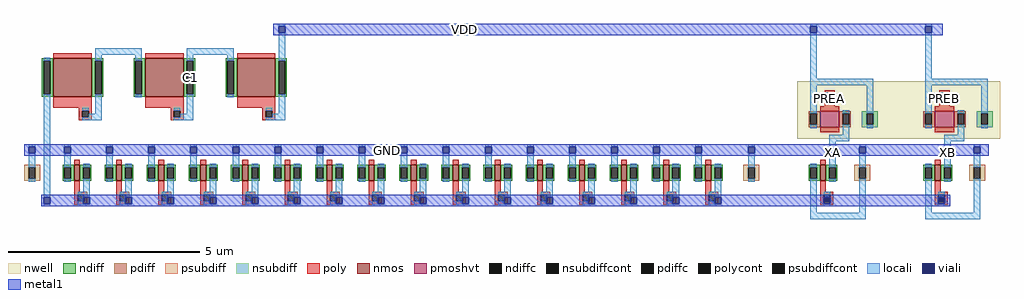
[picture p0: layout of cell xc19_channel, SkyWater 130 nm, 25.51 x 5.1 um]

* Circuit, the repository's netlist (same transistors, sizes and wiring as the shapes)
* NGSPICE file created from xc19_channel.ext - technology: sky130A

.subckt xc19_channel VDD GND C1 PREA XA PREB XB
X0 XB PREB VDD VDD sky130_fd_pr__pfet_01v8_hvt ad=0.126 pd=1.44 as=0.126 ps=1.44 w=0.42 l=0.5
X1 a_n108_440# a_n108_440# GND GND sky130_fd_pr__nfet_01v8 ad=0.126 pd=1.44 as=0.126 ps=1.44 w=0.42 l=0.15
X2 XA PREA VDD VDD sky130_fd_pr__pfet_01v8_hvt ad=0.126 pd=1.44 as=0.126 ps=1.44 w=0.42 l=0.5
X3 a_n108_440# a_n108_440# GND GND sky130_fd_pr__nfet_01v8 ad=0.126 pd=1.44 as=0.126 ps=1.44 w=0.42 l=0.15
X4 a_n108_440# a_n108_440# GND GND sky130_fd_pr__nfet_01v8 ad=0.126 pd=1.44 as=0.126 ps=1.44 w=0.42 l=0.15
X5 a_n108_440# a_n108_440# GND GND sky130_fd_pr__nfet_01v8 ad=0.126 pd=1.44 as=0.126 ps=1.44 w=0.42 l=0.15
X6 a_n108_440# a_n108_440# GND GND sky130_fd_pr__nfet_01v8 ad=0.126 pd=1.44 as=0.126 ps=1.44 w=0.42 l=0.15
X7 a_n108_440# a_n108_440# GND GND sky130_fd_pr__nfet_01v8 ad=0.126 pd=1.44 as=0.126 ps=1.44 w=0.42 l=0.15
X8 a_n108_440# a_n108_440# GND GND sky130_fd_pr__nfet_01v8 ad=0.126 pd=1.44 as=0.126 ps=1.44 w=0.42 l=0.15
X9 XA a_n108_440# GND GND sky130_fd_pr__nfet_01v8 ad=0.126 pd=1.44 as=0.126 ps=1.44 w=0.42 l=0.15
X10 XB a_n108_440# GND GND sky130_fd_pr__nfet_01v8 ad=0.126 pd=1.44 as=0.126 ps=1.44 w=0.42 l=0.15
X11 a_n108_440# a_n108_440# GND GND sky130_fd_pr__nfet_01v8 ad=0.126 pd=1.44 as=0.126 ps=1.44 w=0.42 l=0.15
X12 a_n108_440# a_n108_440# GND GND sky130_fd_pr__nfet_01v8 ad=0.126 pd=1.44 as=0.126 ps=1.44 w=0.42 l=0.15
X13 a_n108_440# a_n108_440# GND GND sky130_fd_pr__nfet_01v8 ad=0.126 pd=1.44 as=0.126 ps=1.44 w=0.42 l=0.15
X14 a_n108_440# a_n108_440# GND GND sky130_fd_pr__nfet_01v8 ad=0.126 pd=1.44 as=0.126 ps=1.44 w=0.42 l=0.15
X15 a_n48_382# a_n48_382# a_n108_440# GND sky130_fd_pr__nfet_01v8 ad=0.3 pd=2.6 as=0.3 ps=2.6 w=1 l=1
X16 a_n108_440# a_n108_440# GND GND sky130_fd_pr__nfet_01v8 ad=0.126 pd=1.44 as=0.126 ps=1.44 w=0.42 l=0.15
X17 a_n108_440# a_n108_440# GND GND sky130_fd_pr__nfet_01v8 ad=0.126 pd=1.44 as=0.126 ps=1.44 w=0.42 l=0.15
X18 a_n108_440# a_n108_440# GND GND sky130_fd_pr__nfet_01v8 ad=0.126 pd=1.44 as=0.126 ps=1.44 w=0.42 l=0.15
X19 C1 C1 a_n48_382# GND sky130_fd_pr__nfet_01v8 ad=0.3 pd=2.6 as=0.3 ps=2.6 w=1 l=1
X20 a_n108_440# a_n108_440# GND GND sky130_fd_pr__nfet_01v8 ad=0.126 pd=1.44 as=0.126 ps=1.44 w=0.42 l=0.15
X21 VDD VDD C1 GND sky130_fd_pr__nfet_01v8 ad=0.3 pd=2.6 as=0.3 ps=2.6 w=1 l=1
X22 a_n108_440# a_n108_440# GND GND sky130_fd_pr__nfet_01v8 ad=0.126 pd=1.44 as=0.126 ps=1.44 w=0.42 l=0.15
.ends

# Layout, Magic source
magic
tech sky130A
magscale 1 2
<< nwell >>
rect 3840 220 4900 520
<< nmos >>
rect -48 440 152 640
rect 432 440 632 640
rect 912 440 1112 640
rect 60 0 90 84
rect 280 0 310 84
rect 500 0 530 84
rect 720 0 750 84
rect 940 0 970 84
rect 1160 0 1190 84
rect 1380 0 1410 84
rect 1600 0 1630 84
rect 1820 0 1850 84
rect 2040 0 2070 84
rect 2260 0 2290 84
rect 2480 0 2510 84
rect 2700 0 2730 84
rect 2920 0 2950 84
rect 3140 0 3170 84
rect 3360 0 3390 84
rect 3960 0 3990 84
rect 4560 0 4590 84
<< pmoshvt >>
rect 3960 280 4060 364
rect 4560 280 4660 364
<< ndiff >>
rect -108 628 -48 640
rect -108 452 -100 628
rect -66 452 -48 628
rect -108 440 -48 452
rect 152 628 212 640
rect 152 452 170 628
rect 204 452 212 628
rect 152 440 212 452
rect 372 628 432 640
rect 372 452 380 628
rect 414 452 432 628
rect 372 440 432 452
rect 632 628 692 640
rect 632 452 650 628
rect 684 452 692 628
rect 632 440 692 452
rect 852 628 912 640
rect 852 452 860 628
rect 894 452 912 628
rect 852 440 912 452
rect 1112 628 1172 640
rect 1112 452 1130 628
rect 1164 452 1172 628
rect 1112 440 1172 452
rect 0 72 60 84
rect 0 12 8 72
rect 42 12 60 72
rect 0 0 60 12
rect 90 72 150 84
rect 90 12 108 72
rect 142 12 150 72
rect 90 0 150 12
rect 220 72 280 84
rect 220 12 228 72
rect 262 12 280 72
rect 220 0 280 12
rect 310 72 370 84
rect 310 12 328 72
rect 362 12 370 72
rect 310 0 370 12
rect 440 72 500 84
rect 440 12 448 72
rect 482 12 500 72
rect 440 0 500 12
rect 530 72 590 84
rect 530 12 548 72
rect 582 12 590 72
rect 530 0 590 12
rect 660 72 720 84
rect 660 12 668 72
rect 702 12 720 72
rect 660 0 720 12
rect 750 72 810 84
rect 750 12 768 72
rect 802 12 810 72
rect 750 0 810 12
rect 880 72 940 84
rect 880 12 888 72
rect 922 12 940 72
rect 880 0 940 12
rect 970 72 1030 84
rect 970 12 988 72
rect 1022 12 1030 72
rect 970 0 1030 12
rect 1100 72 1160 84
rect 1100 12 1108 72
rect 1142 12 1160 72
rect 1100 0 1160 12
rect 1190 72 1250 84
rect 1190 12 1208 72
rect 1242 12 1250 72
rect 1190 0 1250 12
rect 1320 72 1380 84
rect 1320 12 1328 72
rect 1362 12 1380 72
rect 1320 0 1380 12
rect 1410 72 1470 84
rect 1410 12 1428 72
rect 1462 12 1470 72
rect 1410 0 1470 12
rect 1540 72 1600 84
rect 1540 12 1548 72
rect 1582 12 1600 72
rect 1540 0 1600 12
rect 1630 72 1690 84
rect 1630 12 1648 72
rect 1682 12 1690 72
rect 1630 0 1690 12
rect 1760 72 1820 84
rect 1760 12 1768 72
rect 1802 12 1820 72
rect 1760 0 1820 12
rect 1850 72 1910 84
rect 1850 12 1868 72
rect 1902 12 1910 72
rect 1850 0 1910 12
rect 1980 72 2040 84
rect 1980 12 1988 72
rect 2022 12 2040 72
rect 1980 0 2040 12
rect 2070 72 2130 84
rect 2070 12 2088 72
rect 2122 12 2130 72
rect 2070 0 2130 12
rect 2200 72 2260 84
rect 2200 12 2208 72
rect 2242 12 2260 72
rect 2200 0 2260 12
rect 2290 72 2350 84
rect 2290 12 2308 72
rect 2342 12 2350 72
rect 2290 0 2350 12
rect 2420 72 2480 84
rect 2420 12 2428 72
rect 2462 12 2480 72
rect 2420 0 2480 12
rect 2510 72 2570 84
rect 2510 12 2528 72
rect 2562 12 2570 72
rect 2510 0 2570 12
rect 2640 72 2700 84
rect 2640 12 2648 72
rect 2682 12 2700 72
rect 2640 0 2700 12
rect 2730 72 2790 84
rect 2730 12 2748 72
rect 2782 12 2790 72
rect 2730 0 2790 12
rect 2860 72 2920 84
rect 2860 12 2868 72
rect 2902 12 2920 72
rect 2860 0 2920 12
rect 2950 72 3010 84
rect 2950 12 2968 72
rect 3002 12 3010 72
rect 2950 0 3010 12
rect 3080 72 3140 84
rect 3080 12 3088 72
rect 3122 12 3140 72
rect 3080 0 3140 12
rect 3170 72 3230 84
rect 3170 12 3188 72
rect 3222 12 3230 72
rect 3170 0 3230 12
rect 3300 72 3360 84
rect 3300 12 3308 72
rect 3342 12 3360 72
rect 3300 0 3360 12
rect 3390 72 3450 84
rect 3390 12 3408 72
rect 3442 12 3450 72
rect 3390 0 3450 12
rect 3900 72 3960 84
rect 3900 12 3908 72
rect 3942 12 3960 72
rect 3900 0 3960 12
rect 3990 72 4050 84
rect 3990 12 4008 72
rect 4042 12 4050 72
rect 3990 0 4050 12
rect 4500 72 4560 84
rect 4500 12 4508 72
rect 4542 12 4560 72
rect 4500 0 4560 12
rect 4590 72 4650 84
rect 4590 12 4608 72
rect 4642 12 4650 72
rect 4590 0 4650 12
<< pdiff >>
rect 3900 352 3960 364
rect 3900 292 3908 352
rect 3942 292 3960 352
rect 3900 280 3960 292
rect 4060 352 4120 364
rect 4060 292 4078 352
rect 4112 292 4120 352
rect 4060 280 4120 292
rect 4500 352 4560 364
rect 4500 292 4508 352
rect 4542 292 4560 352
rect 4500 280 4560 292
rect 4660 352 4720 364
rect 4660 292 4678 352
rect 4712 292 4720 352
rect 4660 280 4720 292
<< ndiffc >>
rect -100 452 -66 628
rect 170 452 204 628
rect 380 452 414 628
rect 650 452 684 628
rect 860 452 894 628
rect 1130 452 1164 628
rect 8 12 42 72
rect 108 12 142 72
rect 228 12 262 72
rect 328 12 362 72
rect 448 12 482 72
rect 548 12 582 72
rect 668 12 702 72
rect 768 12 802 72
rect 888 12 922 72
rect 988 12 1022 72
rect 1108 12 1142 72
rect 1208 12 1242 72
rect 1328 12 1362 72
rect 1428 12 1462 72
rect 1548 12 1582 72
rect 1648 12 1682 72
rect 1768 12 1802 72
rect 1868 12 1902 72
rect 1988 12 2022 72
rect 2088 12 2122 72
rect 2208 12 2242 72
rect 2308 12 2342 72
rect 2428 12 2462 72
rect 2528 12 2562 72
rect 2648 12 2682 72
rect 2748 12 2782 72
rect 2868 12 2902 72
rect 2968 12 3002 72
rect 3088 12 3122 72
rect 3188 12 3222 72
rect 3308 12 3342 72
rect 3408 12 3442 72
rect 3908 12 3942 72
rect 4008 12 4042 72
rect 4508 12 4542 72
rect 4608 12 4642 72
<< pdiffc >>
rect 3908 292 3942 352
rect 4078 292 4112 352
rect 4508 292 4542 352
rect 4678 292 4712 352
<< psubdiff >>
rect -202 72 -118 84
rect -202 12 -177 72
rect -143 12 -118 72
rect -202 0 -118 12
rect 3558 72 3642 84
rect 3558 12 3583 72
rect 3617 12 3642 72
rect 3558 0 3642 12
rect 4138 72 4222 84
rect 4138 12 4163 72
rect 4197 12 4222 72
rect 4138 0 4222 12
rect 4738 72 4822 84
rect 4738 12 4763 72
rect 4797 12 4822 72
rect 4738 0 4822 12
<< nsubdiff >>
rect 4178 352 4262 364
rect 4178 292 4203 352
rect 4237 292 4262 352
rect 4178 280 4262 292
rect 4778 352 4862 364
rect 4778 292 4803 352
rect 4837 292 4862 352
rect 4778 280 4862 292
<< psubdiffcont >>
rect -177 12 -143 72
rect 3583 12 3617 72
rect 4163 12 4197 72
rect 4763 12 4797 72
<< nsubdiffcont >>
rect 4203 292 4237 352
rect 4803 292 4837 352
<< poly >>
rect -48 640 152 666
rect 432 640 632 666
rect 912 640 1112 666
rect 3983 448 4037 474
rect -48 382 152 440
rect 432 382 632 440
rect 912 382 1112 440
rect 3983 414 3993 448
rect 4027 414 4037 448
rect 3983 390 4037 414
rect 4583 448 4637 474
rect 4583 414 4593 448
rect 4627 414 4637 448
rect 4583 390 4637 414
rect 84 366 152 382
rect 84 332 102 366
rect 136 332 152 366
rect 84 316 152 332
rect 564 366 632 382
rect 564 332 582 366
rect 616 332 632 366
rect 564 316 632 332
rect 1044 366 1112 382
rect 1044 332 1062 366
rect 1096 332 1112 366
rect 3960 364 4060 390
rect 4560 364 4660 390
rect 1044 316 1112 332
rect 3960 254 4060 280
rect 4560 254 4660 280
rect 60 84 90 110
rect 280 84 310 110
rect 500 84 530 110
rect 720 84 750 110
rect 940 84 970 110
rect 1160 84 1190 110
rect 1380 84 1410 110
rect 1600 84 1630 110
rect 1820 84 1850 110
rect 2040 84 2070 110
rect 2260 84 2290 110
rect 2480 84 2510 110
rect 2700 84 2730 110
rect 2920 84 2950 110
rect 3140 84 3170 110
rect 3360 84 3390 110
rect 3960 84 3990 110
rect 4560 84 4590 110
rect 60 -58 90 0
rect 280 -58 310 0
rect 500 -58 530 0
rect 720 -58 750 0
rect 940 -58 970 0
rect 1160 -58 1190 0
rect 1380 -58 1410 0
rect 1600 -58 1630 0
rect 1820 -58 1850 0
rect 2040 -58 2070 0
rect 2260 -58 2290 0
rect 2480 -58 2510 0
rect 2700 -58 2730 0
rect 2920 -58 2950 0
rect 3140 -58 3170 0
rect 3360 -58 3390 0
rect 3960 -58 3990 0
rect 4560 -58 4590 0
rect 60 -74 128 -58
rect 60 -108 78 -74
rect 112 -108 128 -74
rect 60 -124 128 -108
rect 280 -74 348 -58
rect 280 -108 298 -74
rect 332 -108 348 -74
rect 280 -124 348 -108
rect 500 -74 568 -58
rect 500 -108 518 -74
rect 552 -108 568 -74
rect 500 -124 568 -108
rect 720 -74 788 -58
rect 720 -108 738 -74
rect 772 -108 788 -74
rect 720 -124 788 -108
rect 940 -74 1008 -58
rect 940 -108 958 -74
rect 992 -108 1008 -74
rect 940 -124 1008 -108
rect 1160 -74 1228 -58
rect 1160 -108 1178 -74
rect 1212 -108 1228 -74
rect 1160 -124 1228 -108
rect 1380 -74 1448 -58
rect 1380 -108 1398 -74
rect 1432 -108 1448 -74
rect 1380 -124 1448 -108
rect 1600 -74 1668 -58
rect 1600 -108 1618 -74
rect 1652 -108 1668 -74
rect 1600 -124 1668 -108
rect 1820 -74 1888 -58
rect 1820 -108 1838 -74
rect 1872 -108 1888 -74
rect 1820 -124 1888 -108
rect 2040 -74 2108 -58
rect 2040 -108 2058 -74
rect 2092 -108 2108 -74
rect 2040 -124 2108 -108
rect 2260 -74 2328 -58
rect 2260 -108 2278 -74
rect 2312 -108 2328 -74
rect 2260 -124 2328 -108
rect 2480 -74 2548 -58
rect 2480 -108 2498 -74
rect 2532 -108 2548 -74
rect 2480 -124 2548 -108
rect 2700 -74 2768 -58
rect 2700 -108 2718 -74
rect 2752 -108 2768 -74
rect 2700 -124 2768 -108
rect 2920 -74 2988 -58
rect 2920 -108 2938 -74
rect 2972 -108 2988 -74
rect 2920 -124 2988 -108
rect 3140 -74 3208 -58
rect 3140 -108 3158 -74
rect 3192 -108 3208 -74
rect 3140 -124 3208 -108
rect 3360 -74 3428 -58
rect 3360 -108 3378 -74
rect 3412 -108 3428 -74
rect 3360 -124 3428 -108
rect 3960 -74 4028 -58
rect 3960 -108 3978 -74
rect 4012 -108 4028 -74
rect 3960 -124 4028 -108
rect 4560 -74 4628 -58
rect 4560 -108 4578 -74
rect 4612 -108 4628 -74
rect 4560 -124 4628 -108
<< polycont >>
rect 3993 414 4027 448
rect 4593 414 4627 448
rect 102 332 136 366
rect 582 332 616 366
rect 1062 332 1096 366
rect 78 -108 112 -74
rect 298 -108 332 -74
rect 518 -108 552 -74
rect 738 -108 772 -74
rect 958 -108 992 -74
rect 1178 -108 1212 -74
rect 1398 -108 1432 -74
rect 1618 -108 1652 -74
rect 1838 -108 1872 -74
rect 2058 -108 2092 -74
rect 2278 -108 2312 -74
rect 2498 -108 2532 -74
rect 2718 -108 2752 -74
rect 2938 -108 2972 -74
rect 3158 -108 3192 -74
rect 3378 -108 3412 -74
rect 3978 -108 4012 -74
rect 4578 -108 4612 -74
<< locali >>
rect 1130 808 1164 820
rect 170 660 414 694
rect -100 628 -66 644
rect -177 178 -143 190
rect -177 72 -143 144
rect -177 -4 -143 12
rect -100 -86 -66 452
rect 170 628 204 660
rect 102 366 136 382
rect 170 350 204 452
rect 380 628 414 660
rect 380 436 414 452
rect 650 660 894 694
rect 650 628 684 660
rect 136 332 204 350
rect 102 316 204 332
rect 582 366 616 382
rect 650 350 684 452
rect 860 628 894 660
rect 860 436 894 452
rect 1130 628 1164 774
rect 616 332 684 350
rect 582 316 684 332
rect 1062 366 1096 382
rect 1130 350 1164 452
rect 1096 332 1164 350
rect 1062 316 1164 332
rect 3908 808 3942 820
rect 3908 534 3942 774
rect 4508 808 4542 820
rect 4508 534 4542 774
rect 3908 500 4237 534
rect 3908 352 3942 500
rect 3993 448 4027 464
rect 3993 398 4027 414
rect 3908 276 3942 292
rect 4078 352 4112 368
rect 4078 240 4112 292
rect 4203 352 4237 500
rect 4203 276 4237 292
rect 4508 500 4837 534
rect 4508 352 4542 500
rect 4593 448 4627 464
rect 4593 398 4627 414
rect 4508 276 4542 292
rect 4678 352 4712 368
rect 4678 240 4712 292
rect 4803 352 4837 500
rect 4803 276 4837 292
rect 4008 206 4112 240
rect 4608 206 4712 240
rect 8 178 42 190
rect 8 72 42 144
rect 228 178 262 190
rect 8 -4 42 12
rect 108 72 142 88
rect 108 -58 142 12
rect 228 72 262 144
rect 448 178 482 190
rect 228 -4 262 12
rect 328 72 362 88
rect 328 -58 362 12
rect 448 72 482 144
rect 668 178 702 190
rect 448 -4 482 12
rect 548 72 582 88
rect 548 -58 582 12
rect 668 72 702 144
rect 888 178 922 190
rect 668 -4 702 12
rect 768 72 802 88
rect 768 -58 802 12
rect 888 72 922 144
rect 1108 178 1142 190
rect 888 -4 922 12
rect 988 72 1022 88
rect 988 -58 1022 12
rect 1108 72 1142 144
rect 1328 178 1362 190
rect 1108 -4 1142 12
rect 1208 72 1242 88
rect 1208 -58 1242 12
rect 1328 72 1362 144
rect 1548 178 1582 190
rect 1328 -4 1362 12
rect 1428 72 1462 88
rect 1428 -58 1462 12
rect 1548 72 1582 144
rect 1768 178 1802 190
rect 1548 -4 1582 12
rect 1648 72 1682 88
rect 1648 -58 1682 12
rect 1768 72 1802 144
rect 1988 178 2022 190
rect 1768 -4 1802 12
rect 1868 72 1902 88
rect 1868 -58 1902 12
rect 1988 72 2022 144
rect 2208 178 2242 190
rect 1988 -4 2022 12
rect 2088 72 2122 88
rect 2088 -58 2122 12
rect 2208 72 2242 144
rect 2428 178 2462 190
rect 2208 -4 2242 12
rect 2308 72 2342 88
rect 2308 -58 2342 12
rect 2428 72 2462 144
rect 2648 178 2682 190
rect 2428 -4 2462 12
rect 2528 72 2562 88
rect 2528 -58 2562 12
rect 2648 72 2682 144
rect 2868 178 2902 190
rect 2648 -4 2682 12
rect 2748 72 2782 88
rect 2748 -58 2782 12
rect 2868 72 2902 144
rect 3088 178 3122 190
rect 2868 -4 2902 12
rect 2968 72 3002 88
rect 2968 -58 3002 12
rect 3088 72 3122 144
rect 3308 178 3342 190
rect 3088 -4 3122 12
rect 3188 72 3222 88
rect 3188 -58 3222 12
rect 3308 72 3342 144
rect 3583 178 3617 190
rect 3308 -4 3342 12
rect 3408 72 3442 88
rect 3408 -58 3442 12
rect 3583 72 3617 144
rect 3583 -4 3617 12
rect 3908 72 3942 88
rect -100 -124 -66 -120
rect 78 -74 142 -58
rect 112 -86 142 -74
rect 78 -120 108 -108
rect 78 -124 142 -120
rect 298 -74 362 -58
rect 332 -86 362 -74
rect 298 -120 328 -108
rect 298 -124 362 -120
rect 518 -74 582 -58
rect 552 -86 582 -74
rect 518 -120 548 -108
rect 518 -124 582 -120
rect 738 -74 802 -58
rect 772 -86 802 -74
rect 738 -120 768 -108
rect 738 -124 802 -120
rect 958 -74 1022 -58
rect 992 -86 1022 -74
rect 958 -120 988 -108
rect 958 -124 1022 -120
rect 1178 -74 1242 -58
rect 1212 -86 1242 -74
rect 1178 -120 1208 -108
rect 1178 -124 1242 -120
rect 1398 -74 1462 -58
rect 1432 -86 1462 -74
rect 1398 -120 1428 -108
rect 1398 -124 1462 -120
rect 1618 -74 1682 -58
rect 1652 -86 1682 -74
rect 1618 -120 1648 -108
rect 1618 -124 1682 -120
rect 1838 -74 1902 -58
rect 1872 -86 1902 -74
rect 1838 -120 1868 -108
rect 1838 -124 1902 -120
rect 2058 -74 2122 -58
rect 2092 -86 2122 -74
rect 2058 -120 2088 -108
rect 2058 -124 2122 -120
rect 2278 -74 2342 -58
rect 2312 -86 2342 -74
rect 2278 -120 2308 -108
rect 2278 -124 2342 -120
rect 2498 -74 2562 -58
rect 2532 -86 2562 -74
rect 2498 -120 2528 -108
rect 2498 -124 2562 -120
rect 2718 -74 2782 -58
rect 2752 -86 2782 -74
rect 2718 -120 2748 -108
rect 2718 -124 2782 -120
rect 2938 -74 3002 -58
rect 2972 -86 3002 -74
rect 2938 -120 2968 -108
rect 2938 -124 3002 -120
rect 3158 -74 3222 -58
rect 3192 -86 3222 -74
rect 3158 -120 3188 -108
rect 3158 -124 3222 -120
rect 3378 -74 3442 -58
rect 3412 -86 3442 -74
rect 3378 -120 3408 -108
rect 3378 -124 3442 -120
rect 3908 -166 3942 12
rect 4008 72 4042 206
rect 4008 -4 4042 12
rect 4163 178 4197 190
rect 4163 72 4197 144
rect 3978 -74 4012 -58
rect 3978 -124 4012 -120
rect 4163 -166 4197 12
rect 3908 -200 4197 -166
rect 4508 72 4542 88
rect 4508 -166 4542 12
rect 4608 72 4642 206
rect 4608 -4 4642 12
rect 4763 178 4797 190
rect 4763 72 4797 144
rect 4578 -74 4612 -58
rect 4578 -124 4612 -120
rect 4763 -166 4797 12
rect 4508 -200 4797 -166
<< viali >>
rect 1130 774 1164 808
rect -177 144 -143 178
rect 3908 774 3942 808
rect 4508 774 4542 808
rect 8 144 42 178
rect 228 144 262 178
rect 448 144 482 178
rect 668 144 702 178
rect 888 144 922 178
rect 1108 144 1142 178
rect 1328 144 1362 178
rect 1548 144 1582 178
rect 1768 144 1802 178
rect 1988 144 2022 178
rect 2208 144 2242 178
rect 2428 144 2462 178
rect 2648 144 2682 178
rect 2868 144 2902 178
rect 3088 144 3122 178
rect 3308 144 3342 178
rect 3583 144 3617 178
rect -100 -120 -66 -86
rect 108 -108 112 -86
rect 112 -108 142 -86
rect 108 -120 142 -108
rect 328 -108 332 -86
rect 332 -108 362 -86
rect 328 -120 362 -108
rect 548 -108 552 -86
rect 552 -108 582 -86
rect 548 -120 582 -108
rect 768 -108 772 -86
rect 772 -108 802 -86
rect 768 -120 802 -108
rect 988 -108 992 -86
rect 992 -108 1022 -86
rect 988 -120 1022 -108
rect 1208 -108 1212 -86
rect 1212 -108 1242 -86
rect 1208 -120 1242 -108
rect 1428 -108 1432 -86
rect 1432 -108 1462 -86
rect 1428 -120 1462 -108
rect 1648 -108 1652 -86
rect 1652 -108 1682 -86
rect 1648 -120 1682 -108
rect 1868 -108 1872 -86
rect 1872 -108 1902 -86
rect 1868 -120 1902 -108
rect 2088 -108 2092 -86
rect 2092 -108 2122 -86
rect 2088 -120 2122 -108
rect 2308 -108 2312 -86
rect 2312 -108 2342 -86
rect 2308 -120 2342 -108
rect 2528 -108 2532 -86
rect 2532 -108 2562 -86
rect 2528 -120 2562 -108
rect 2748 -108 2752 -86
rect 2752 -108 2782 -86
rect 2748 -120 2782 -108
rect 2968 -108 2972 -86
rect 2972 -108 3002 -86
rect 2968 -120 3002 -108
rect 3188 -108 3192 -86
rect 3192 -108 3222 -86
rect 3188 -120 3222 -108
rect 3408 -108 3412 -86
rect 3412 -108 3442 -86
rect 3408 -120 3442 -108
rect 4163 144 4197 178
rect 3978 -108 4012 -86
rect 3978 -120 4012 -108
rect 4763 144 4797 178
rect 4578 -108 4612 -86
rect 4578 -120 4612 -108
<< metal1 >>
rect 1100 808 4600 820
rect 1100 774 1130 808
rect 1164 774 3908 808
rect 3942 774 4508 808
rect 4542 774 4600 808
rect 1100 762 4600 774
rect -200 178 4840 190
rect -200 144 -177 178
rect -143 144 8 178
rect 42 144 228 178
rect 262 144 448 178
rect 482 144 668 178
rect 702 144 888 178
rect 922 144 1108 178
rect 1142 144 1328 178
rect 1362 144 1548 178
rect 1582 144 1768 178
rect 1802 144 1988 178
rect 2022 144 2208 178
rect 2242 144 2428 178
rect 2462 144 2648 178
rect 2682 144 2868 178
rect 2902 144 3088 178
rect 3122 144 3308 178
rect 3342 144 3583 178
rect 3617 144 4163 178
rect 4197 144 4763 178
rect 4797 144 4840 178
rect -200 132 4840 144
rect -112 -86 4640 -74
rect -112 -120 -100 -86
rect -66 -120 108 -86
rect 142 -120 328 -86
rect 362 -120 548 -86
rect 582 -120 768 -86
rect 802 -120 988 -86
rect 1022 -120 1208 -86
rect 1242 -120 1428 -86
rect 1462 -120 1648 -86
rect 1682 -120 1868 -86
rect 1902 -120 2088 -86
rect 2122 -120 2308 -86
rect 2342 -120 2528 -86
rect 2562 -120 2748 -86
rect 2782 -120 2968 -86
rect 3002 -120 3188 -86
rect 3222 -120 3408 -86
rect 3442 -120 3978 -86
rect 4012 -120 4578 -86
rect 4612 -120 4640 -86
rect -112 -132 4640 -120
<< labels >>
flabel metal1 2000 762 2200 820 0 FreeSans 320 0 0 0 VDD
port 1 nsew
flabel metal1 1600 132 1800 190 0 FreeSans 320 0 0 0 GND
port 2 nsew
flabel locali 650 480 684 600 0 FreeSans 320 0 0 0 C1
port 3 nsew
flabel locali 3993 398 4027 464 0 FreeSans 320 0 0 0 PREA
port 4 nsew
flabel locali 4008 120 4042 180 0 FreeSans 320 0 0 0 XA
port 5 nsew
flabel locali 4593 398 4627 464 0 FreeSans 320 0 0 0 PREB
port 6 nsew
flabel locali 4608 120 4642 180 0 FreeSans 320 0 0 0 XB
port 7 nsew
<< end >>
